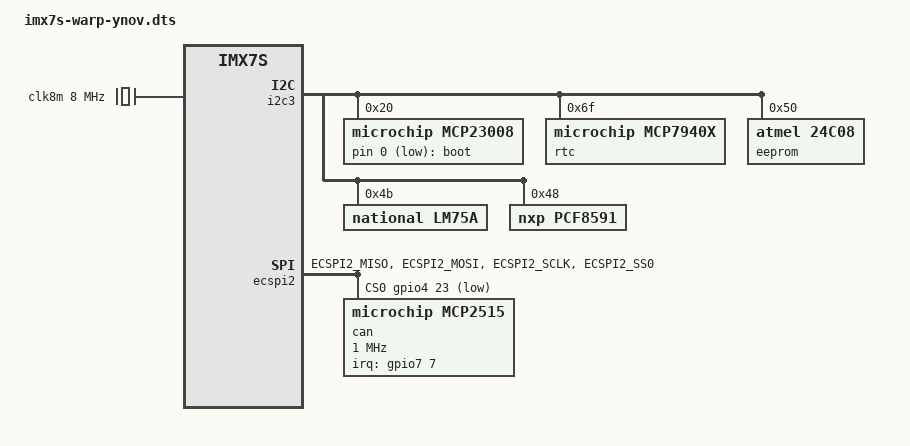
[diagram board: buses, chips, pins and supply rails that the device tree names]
#include "imx7s-warp.dts"

/ {
	leds {
		compatible = "gpio-leds";
		system {
			label = "boot";
			gpios = <&mcp23008 0 GPIO_ACTIVE_LOW>;
			linux,default-trigger = "heartbeat";
			default-state = "on";
		};
	};

	clocks {
		#address-cells = <1>;
		#size-cells = <0>;

    /* fixed crystal dedicated to mpc251x */
		clk8m: clk@1 {
			compatible = "fixed-clock";
			reg=<1>;
			#clock-cells = <0>;
			clock-frequency = <8000000>;
			clock-output-names = "clk8m";
		};
	};
};

&i2c3 {
	mcp23008: mcp23008@20 {
		compatible = "microchip,mcp23008";
		gpio-controller;
		#gpio-cells = <2>;
		reg = <0x20>;
	};

	rtc@6f {
		compatible = "microchip,mcp7940x";
		reg = <0x6f>;
	};

	eeprom@50 {
		compatible = "atmel,24c08";
		reg = <0x50>;
		pagesize = <16>;
	};

	lm75a@4b {
		compatible = "national,lm75a";
		reg = <0x4b>;
	};

	pcf8591@48 {
		compatible = "nxp,pcf8591";
		reg = <0x48>;
	};
};

&ecspi2 {
	fsl,spi-num-chipselects = <2>;
	cs-gpios = <&gpio4 23 GPIO_ACTIVE_LOW>;
	pinctrl-names = "default";
	pinctrl-0 = <&pinctrl_ecspi2>;
	status = "okay";

	can: can@0 {
		compatible = "microchip,mcp2515";
		pinctrl-names = "can";
		pinctrl-0 = <&pinctrl_can_int>;
		clocks = <&clk8m>;
		reg = <0>;
		spi-max-frequency = <1000000>;
		interrupt-parent = <&gpio7>;
		interrupts = <7 IRQ_TYPE_EDGE_FALLING>;
	};
};

&iomuxc {
	pinctrl_ecspi2: ecspi2grp {
		fsl,pins = <
		MX7D_PAD_ECSPI2_MISO__ECSPI2_MISO          0x00000014
		MX7D_PAD_ECSPI2_MOSI__ECSPI2_MOSI          0x00000014
		MX7D_PAD_ECSPI2_SCLK__ECSPI2_SCLK          0x00000014
		MX7D_PAD_ECSPI2_SS0__ECSPI2_SS0            0x00000014
		>;
	};

	pinctrl_can_int: cangrp {
      fsl,pins = <
        MX7D_PAD_ENET1_RGMII_TD1__GPIO7_IO7 0x14 /* INT */
      >;
    };
};
